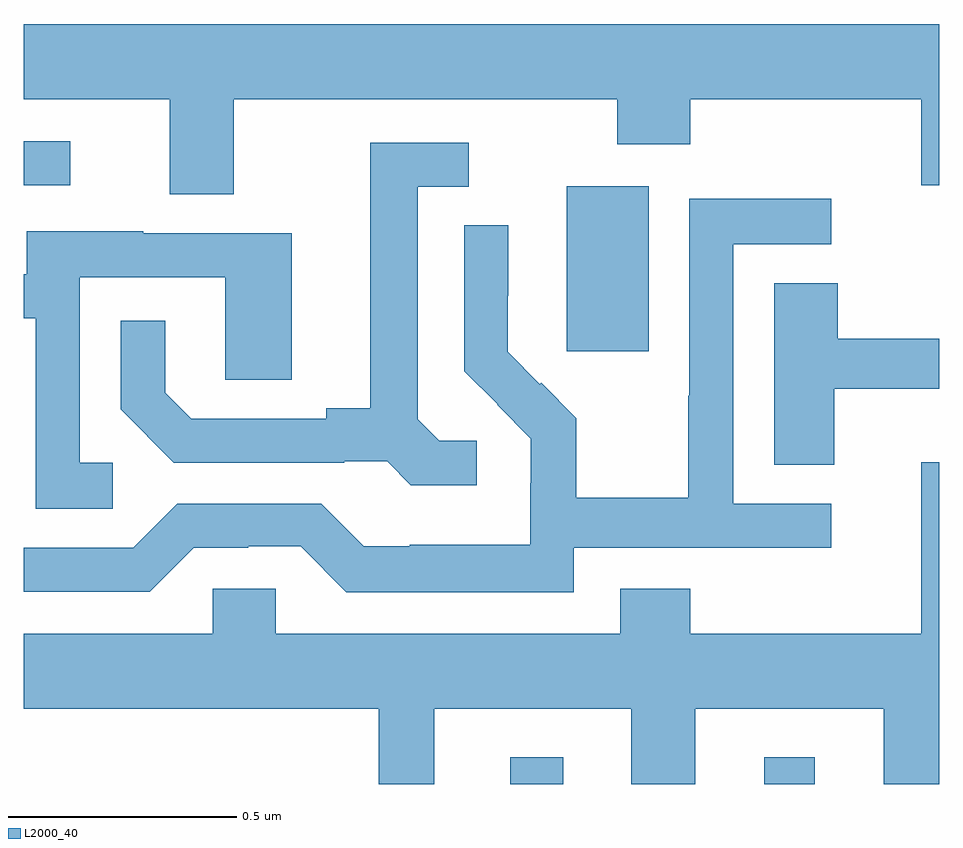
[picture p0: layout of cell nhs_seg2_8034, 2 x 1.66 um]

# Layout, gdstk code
import gdstk
lib = gdstk.Library(unit=1e-6, precision=1e-09)
def R(c, l, rs):  # rectangles x0, y0, x1, y1
    for r in rs: c.add(gdstk.rectangle(r[:2], r[2:], *l))
def P(c, l, *ps):  # polygons
    for p in ps: c.add(gdstk.Polygon(p, *l))
L2000_40 = (2000, 40)

nhs_seg2_8034 = lib.new_cell('nhs_seg2_8034')
R(nhs_seg2_8034, L2000_40, [(212.063,652.8,212.179,652.858), (212.618,652.8,212.728,652.858), (212.186,653.745,212.365,654.106), (211,654.108,211.102,654.204)])
P(nhs_seg2_8034, L2000_40, [(211.459,654.296),(212.296,654.296),(212.296,654.197),(212.456,654.197),(212.456,654.296),(212.96,654.296),(212.96,654.108),(213,654.108),(213,654.46),(211,654.46),(211,654.296),(211.319,654.296),(211.319,654.088),(211.459,654.088)],
  [(211.99,653.55),(211.908,653.55),(211.861,653.597),(211.861,654.105),(211.972,654.105),(211.972,654.201),(211.757,654.201),(211.757,653.621),(211.661,653.621),(211.661,653.598),(211.366,653.598),(211.309,653.655),(211.309,653.812),(211.212,653.812),(211.212,653.618),(211.328,653.502),(211.7,653.502),(211.7,653.505),(211.794,653.505),(211.846,653.453),(211.99,653.453)],
  [(212.202,653.316),(212.764,653.316),(212.764,653.412),(212.55,653.412),(212.55,653.979),(212.764,653.979),(212.764,654.078),(212.454,654.078),(212.454,653.648),(212.452,653.648),(212.452,653.425),(212.207,653.425),(212.207,653.599),(212.13,653.676),(212.127,653.673),(212.057,653.744),(212.057,653.866),(212.058,653.866),(212.058,654.02),(211.962,654.02),(211.962,653.702),(212.035,653.629),(212.034,653.628),(212.108,653.554),(212.108,653.457),(212.106,653.457),(212.106,653.323),(211.843,653.323),(211.843,653.319),(211.743,653.319),(211.65,653.412),(211.335,653.412),(211.239,653.316),(211,653.316),(211,653.22),(211.275,653.22),(211.371,653.316),(211.49,653.316),(211.49,653.319),(211.605,653.319),(211.705,653.219),(212.202,653.219)],
  [(211.195,653.502),(211.122,653.502),(211.122,653.907),(211.44,653.907),(211.44,653.683),(211.585,653.683),(211.585,654.003),(211.261,654.003),(211.261,654.007),(211.007,654.007),(211.007,653.913),(211,653.913),(211,653.817),(211.026,653.817),(211.026,653.401),(211.195,653.401)],
  [(212.77,653.663),(213,653.663),(213,653.773),(212.778,653.773),(212.778,653.894),(212.639,653.894),(212.639,653.497),(212.77,653.497)],
  [(211.897,652.964),(212.327,652.964),(212.327,652.8),(212.467,652.8),(212.467,652.964),(212.879,652.964),(212.879,652.8),(213,652.8),(213,653.503),(212.96,653.503),(212.96,653.128),(212.456,653.128),(212.456,653.227),(212.303,653.227),(212.303,653.128),(211.551,653.128),(211.551,653.226),(211.413,653.226),(211.413,653.128),(211,653.128),(211,652.964),(211.776,652.964),(211.776,652.8),(211.897,652.8)])

lib.write_gds('nhs_seg2_8034.gds')
